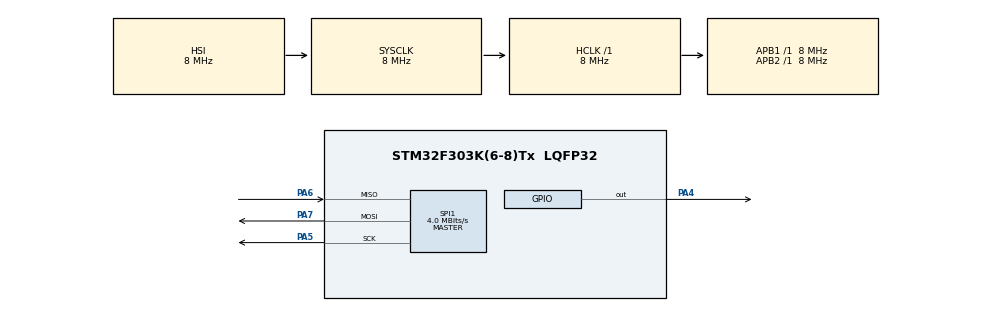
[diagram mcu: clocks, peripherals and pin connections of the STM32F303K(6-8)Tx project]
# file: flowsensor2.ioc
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Mcu.Family=STM32F3
Mcu.Name=STM32F303K(6-8)Tx
Mcu.Package=LQFP32
NVIC.PriorityGroup=NVIC_PRIORITYGROUP_4
PA4.GPIO_PuPd=GPIO_NOPULL
PA4.Signal=GPIO_Output
PA5.Mode=Full_Duplex_Master
PA5.Signal=SPI1_SCK
PA6.Mode=Full_Duplex_Master
PA6.Signal=SPI1_MISO
PA7.Mode=Full_Duplex_Master
PA7.Signal=SPI1_MOSI
ProjectManager.HeapSize=0x200
ProjectManager.StackSize=0x400
ProjectManager.TargetToolchain=TrueSTUDIO
RCC.AHBFreq_Value=8000000
RCC.APB1Freq_Value=8000000
RCC.APB2Freq_Value=8000000
RCC.CortexFreq_Value=8000000
RCC.HSE_VALUE=8000000
RCC.HSI_VALUE=8000000
RCC.SYSCLKFreq_VALUE=8000000
SPI1.CLKPolarity=SPI_POLARITY_HIGH
SPI1.CalculateBaudRate=4.0 MBits/s
SPI1.DataSize=SPI_DATASIZE_8BIT
SPI1.Direction=SPI_DIRECTION_2LINES
SPI1.Mode=SPI_MODE_MASTER
SPI1.NSSPMode=SPI_NSS_PULSE_DISABLE
SPI1.VirtualType=VM_MASTER
board=flowsensor2

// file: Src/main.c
/**
  ******************************************************************************
  * @file           : main.c
  * @brief          : Main program body
  ******************************************************************************
  ** This notice applies to any and all portions of this file
  * that are not between comment pairs USER CODE BEGIN and
  * USER CODE END. Other portions of this file, whether
  * inserted by the user or by software development tools
  * are owned by their respective copyright owners.
  *
  * COPYRIGHT(c) 2018 STMicroelectronics
  *
  * Redistribution and use in source and binary forms, with or without modification,
  * are permitted provided that the following conditions are met:
  *   1. Redistributions of source code must retain the above copyright notice,
  *      this list of conditions and the following disclaimer.
  *   2. Redistributions in binary form must reproduce the above copyright notice,
  *      this list of conditions and the following disclaimer in the documentation
  *      and/or other materials provided with the distribution.
  *   3. Neither the name of STMicroelectronics nor the names of its contributors
  *      may be used to endorse or promote products derived from this software
  *      without specific prior written permission.
  *
  * THIS SOFTWARE IS PROVIDED BY THE COPYRIGHT HOLDERS AND CONTRIBUTORS "AS IS"
  * AND ANY EXPRESS OR IMPLIED WARRANTIES, INCLUDING, BUT NOT LIMITED TO, THE
  * IMPLIED WARRANTIES OF MERCHANTABILITY AND FITNESS FOR A PARTICULAR PURPOSE ARE
  * DISCLAIMED. IN NO EVENT SHALL THE COPYRIGHT HOLDER OR CONTRIBUTORS BE LIABLE
  * FOR ANY DIRECT, INDIRECT, INCIDENTAL, SPECIAL, EXEMPLARY, OR CONSEQUENTIAL
  * DAMAGES (INCLUDING, BUT NOT LIMITED TO, PROCUREMENT OF SUBSTITUTE GOODS OR
  * SERVICES; LOSS OF USE, DATA, OR PROFITS; OR BUSINESS INTERRUPTION) HOWEVER
  * CAUSED AND ON ANY THEORY OF LIABILITY, WHETHER IN CONTRACT, STRICT LIABILITY,
  * OR TORT (INCLUDING NEGLIGENCE OR OTHERWISE) ARISING IN ANY WAY OUT OF THE USE
  * OF THIS SOFTWARE, EVEN IF ADVISED OF THE POSSIBILITY OF SUCH DAMAGE.
  *
  ******************************************************************************
  */
#include "main.h"
#include "stm32f3xx_hal.h"
#include "spi.h"
#include "gpio.h"

/* USER CODE BEGIN Includes */
#include "ADNS9800_SROM_A6.h"
/* USER CODE END Includes */

/* USER CODE BEGIN PV */
/* Private variables ---------------------------------------------------------*/

/* USER CODE END PV */

void SystemClock_Config(void);

/* USER CODE BEGIN PFP */
void adns_write_reg(uint8_t reg_addr, uint8_t data);
uint8_t adns_read_reg(uint8_t reg_addr);
void adns_perform_startup();
void adns_upload_firmware();
void delay_us(uint32_t microseconds);
uint32_t get_micros();
/* Private function prototypes -----------------------------------------------*/

/* USER CODE END PFP */

int main(void)
{

  /* MCU Configuration----------------------------------------------------------*/

  /* Reset of all peripherals, Initializes the Flash interface and the Systick. */
  HAL_Init();

  /* Configure the system clock */
  SystemClock_Config();

  /* Initialize all configured peripherals */
  MX_GPIO_Init();
  MX_SPI1_Init();
  /* USER CODE BEGIN 2 */

  HAL_GPIO_WritePin(GPIOA, GPIO_PIN_4, GPIO_PIN_SET);

  HAL_Delay(1000);

  adns_perform_startup();

  /* USER CODE END 2 */

  /* Infinite loop */
  /* USER CODE BEGIN WHILE */
  while (1)
  {
	  HAL_Delay(100);
	  volatile uint8_t dH = adns_read_reg(REG_Delta_X_L);
	  volatile uint8_t dL = adns_read_reg(REG_Delta_X_H);
	  (void)dH;

  /* USER CODE END WHILE */

  }

}

void SystemClock_Config(void)
{

  RCC_OscInitTypeDef RCC_OscInitStruct;
  RCC_ClkInitTypeDef RCC_ClkInitStruct;

    /**Initializes the CPU, AHB and APB busses clocks
    */
  RCC_OscInitStruct.OscillatorType = RCC_OSCILLATORTYPE_HSI;
  RCC_OscInitStruct.HSIState = RCC_HSI_ON;
  RCC_OscInitStruct.HSICalibrationValue = 16;
  RCC_OscInitStruct.PLL.PLLState = RCC_PLL_NONE;
  if (HAL_RCC_OscConfig(&RCC_OscInitStruct) != HAL_OK)
  {
    _Error_Handler(__FILE__, __LINE__);
  }

    /**Initializes the CPU, AHB and APB busses clocks
    */
  RCC_ClkInitStruct.ClockType = RCC_CLOCKTYPE_HCLK|RCC_CLOCKTYPE_SYSCLK
                              |RCC_CLOCKTYPE_PCLK1|RCC_CLOCKTYPE_PCLK2;
  RCC_ClkInitStruct.SYSCLKSource = RCC_SYSCLKSOURCE_HSI;
  RCC_ClkInitStruct.AHBCLKDivider = RCC_SYSCLK_DIV1;
  RCC_ClkInitStruct.APB1CLKDivider = RCC_HCLK_DIV1;
  RCC_ClkInitStruct.APB2CLKDivider = RCC_HCLK_DIV1;

  if (HAL_RCC_ClockConfig(&RCC_ClkInitStruct, FLASH_LATENCY_0) != HAL_OK)
  {
    _Error_Handler(__FILE__, __LINE__);
  }

    /**Configure the Systick interrupt time
    */
  HAL_SYSTICK_Config(HAL_RCC_GetHCLKFreq()/1000);

    /**Configure the Systick
    */
  HAL_SYSTICK_CLKSourceConfig(SYSTICK_CLKSOURCE_HCLK);

  /* SysTick_IRQn interrupt configuration */
  HAL_NVIC_SetPriority(SysTick_IRQn, 0, 0);
}

/* USER CODE BEGIN 4 */

void adns_write_reg(uint8_t reg_addr, uint8_t data)
{
	static uint8_t dataArray[2];
	dataArray[0] = reg_addr | 0x80;
	dataArray[1] = data;
	HAL_GPIO_WritePin(GPIOA, GPIO_PIN_4, GPIO_PIN_RESET);
	HAL_SPI_Transmit(&hspi1, dataArray, 2, 20);
	while (HAL_SPI_GetState(&hspi1) != HAL_SPI_STATE_READY);
	HAL_GPIO_WritePin(GPIOA, GPIO_PIN_4, GPIO_PIN_SET);
}

uint8_t adns_read_reg(uint8_t reg_addr)
{
	volatile static uint8_t output = 0;

	HAL_GPIO_WritePin(GPIOA, GPIO_PIN_4, GPIO_PIN_RESET);
	HAL_SPI_TransmitReceive(&hspi1, &reg_addr, &output, 1, 10);
	while (HAL_SPI_GetState(&hspi1) != HAL_SPI_STATE_READY);
	HAL_GPIO_WritePin(GPIOA, GPIO_PIN_4, GPIO_PIN_SET);

	return output;
}

void adns_perform_startup()
{
	HAL_GPIO_WritePin(GPIOA, GPIO_PIN_4, GPIO_PIN_SET);
	HAL_GPIO_WritePin(GPIOA, GPIO_PIN_4, GPIO_PIN_RESET);
	HAL_GPIO_WritePin(GPIOA, GPIO_PIN_4, GPIO_PIN_SET);

	adns_write_reg(REG_Power_Up_Reset, 0x5A);
	HAL_Delay(50);

	adns_read_reg(REG_Motion);
	adns_read_reg(REG_Delta_X_L);
	adns_read_reg(REG_Delta_X_H);
	adns_read_reg(REG_Delta_Y_L);
	adns_read_reg(REG_Delta_X_H);

	adns_upload_firmware();

	HAL_Delay(10);

	volatile uint8_t laser_ctrl = adns_read_reg(REG_LASER_CTRL0);
	laser_ctrl &= 0xF0;
	adns_write_reg(REG_LASER_CTRL0, laser_ctrl);

	HAL_Delay(10);
}

void adns_upload_firmware()
{
	adns_write_reg(REG_Configuration_IV, 0x02);
	adns_write_reg(REG_SROM_Enable, 0x1D);

	HAL_Delay(10);

	adns_write_reg(REG_SROM_Enable, 0x18);

	HAL_GPIO_WritePin(GPIOA, GPIO_PIN_4, GPIO_PIN_RESET);
	uint8_t data = REG_SROM_Load_Burst | 0x80;
	HAL_SPI_Transmit(&hspi1, &data, 1, 10);

	for (uint16_t i = 0; i < firmware_length; i++)
	{
		data = firmware_data[i];
		HAL_SPI_Transmit(&hspi1, &data, 1, 10);
		while (HAL_SPI_GetState(&hspi1) != HAL_SPI_STATE_READY);
		delay_us(10);
	}

	HAL_GPIO_WritePin(GPIOA, GPIO_PIN_4, GPIO_PIN_SET);
}

uint32_t get_micros()
{
	static uint32_t micros;
	micros = (HAL_GetTick() * 1000) + ((8000 - SysTick->VAL) / 8);

	return micros;
}

void delay_us(uint32_t delay)
{
	uint32_t current = get_micros();
	if ((delay + current) < 0xFFFFFFFF)
	{
		while ((get_micros() - current) < delay);
	}
}

/* USER CODE END 4 */

void _Error_Handler(char *file, int line)
{
  while(1)
  {
  }
}

/************************ (C) COPYRIGHT STMicroelectronics *****END OF FILE****/
